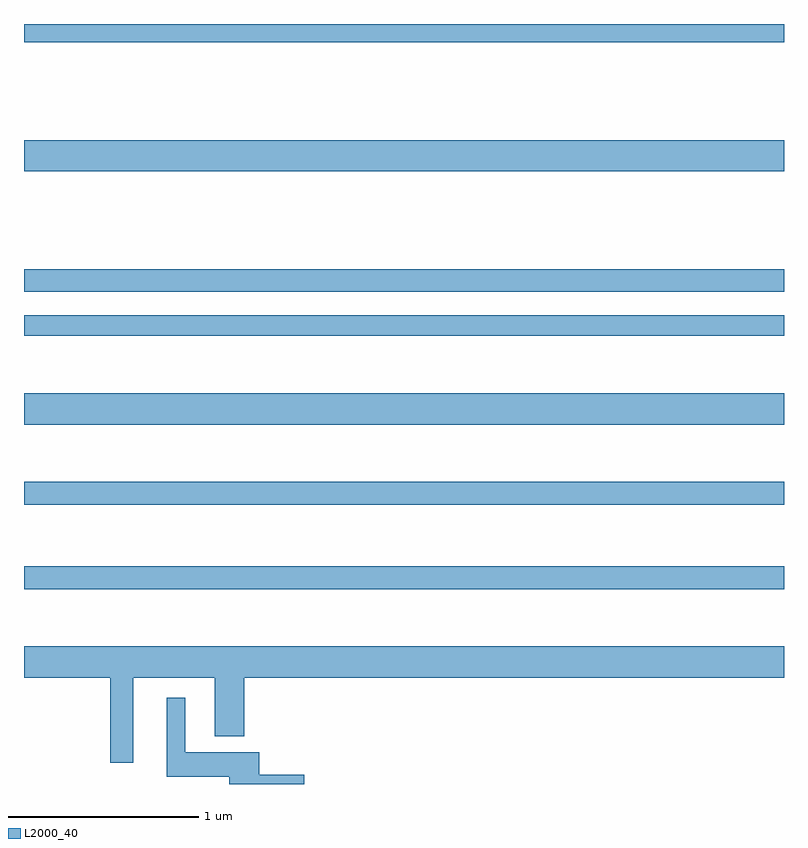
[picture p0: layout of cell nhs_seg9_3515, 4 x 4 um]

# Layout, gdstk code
import gdstk
lib = gdstk.Library(unit=1e-6, precision=1e-09)
def R(c, l, rs):  # rectangles x0, y0, x1, y1
    for r in rs: c.add(gdstk.rectangle(r[:2], r[2:], *l))
def P(c, l, *ps):  # polygons
    for p in ps: c.add(gdstk.Polygon(p, *l))
L2000_40 = (2000, 40)

nhs_seg9_3515 = lib.new_cell('nhs_seg9_3515')
R(nhs_seg9_3515, L2000_40, [(311,1223.526,315,1223.647), (311,1223.97,315,1224.091), (311,1224.392,315,1224.556), (311,1224.858,315,1224.966), (311,1225.092,315,1225.208), (311,1225.724,315,1225.888), (311,1226.404,315,1226.5)])
P(nhs_seg9_3515, L2000_40, [(311.575,1223.06),(312.005,1223.06),(312.005,1222.751),(312.158,1222.751),(312.158,1223.06),(315,1223.06),(315,1223.224),(311,1223.224),(311,1223.06),(311.454,1223.06),(311.454,1222.611),(311.575,1222.611)],
  [(312.475,1222.55),(312.239,1222.55),(312.239,1222.666),(311.848,1222.666),(311.848,1222.954),(311.75,1222.954),(311.75,1222.538),(312.08,1222.538),(312.08,1222.5),(312.475,1222.5)])

lib.write_gds('nhs_seg9_3515.gds')
